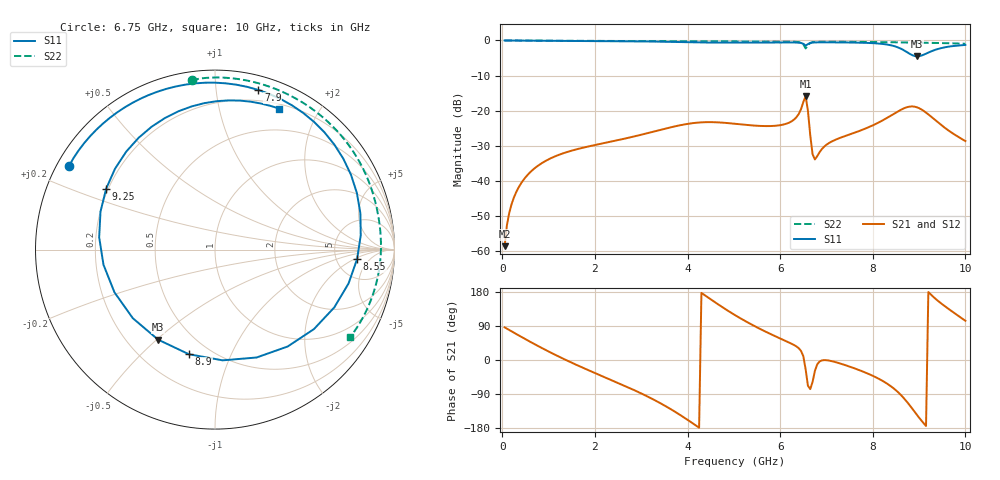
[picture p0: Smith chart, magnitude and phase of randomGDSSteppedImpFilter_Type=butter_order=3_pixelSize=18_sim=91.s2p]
! freq	dB(S11)	phase(S11)	dB(S12)	phase(S12)
!  dB(S21)	phase(S21)	dB(S22)	phase(S22)
!S-par simulation data
#  GHz  S  DB  R 50
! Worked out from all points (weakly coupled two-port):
!   200 points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, 50 MHz to 10 GHz, reference 50 ohm
!   highest |S21| = -15.85 dB at 6.55 GHz (marker M1); lowest = -58.6 dB at 50 MHz (marker M2)
!   lowest |S11| = -4.5 dB at 8.95 GHz (marker M3), VSWR 3.92, Z = 16.3 - j25.2 ohm
!   |S11| at or under -10 dB: nowhere
!   |S22| runs from -2.3 to 0.0 dB; largest |S21 - S12| = 0
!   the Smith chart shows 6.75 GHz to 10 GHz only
!   S11 on the Smith chart (normalised r, x): 6.75 GHz: 0.03, +0.26; 7.9 GHz: 0.11, +1.30; 8.55 GHz: 8.02, -2.28; 8.9 GHz: 0.39, -0.71; 9.25 GHz: 0.19, +0.25; 10 GHz: 0.25, +1.53
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0.05  -0.00 -4.3  -58.59 86.2  -58.59 86.2  -0.00 -2.8
0.2  -0.02 -17.2  -46.65 75.7  -46.65 75.7  -0.01 -11.1
0.5  -0.05 -42.3  -38.99 54.9  -38.99 54.9  -0.04 -27.5
1.1  -0.11 -89.3  -33.23 16.3  -33.23 16.3  -0.07 -58.9
1.75  -0.15 -135.2  -30.52 -21.0  -30.52 -21.0  -0.10 -89.7
2.6  -0.21 167.0  -28.09 -65.9  -28.09 -65.9  -0.13 -124.8
3.4  -0.34 102.0  -25.52 -113.1  -25.52 -113.1  -0.17 -153.9
3.8  -0.44 60.1  -24.26 -141.9  -24.26 -141.9  -0.19 -167.5
4.25  -0.56 5.3  -23.37 -178.7  -23.37 -178.7  -0.21 177.7
5.05  -0.60 -88.5  -23.77 116.6  -23.77 116.6  -0.25 151.7
5.8  -0.55 -151.7  -24.37 68.1  -24.37 68.1  -0.29 126.7
6.55  -1.45 159.9  -15.85 -24.4  -15.85 -24.4  -2.26 98.9
6.7  -0.60 153.7  -32.39 -58.0  -32.39 -58.0  -0.50 100.5
6.75  -0.56 150.3  -33.89 -29.0  -33.89 -29.0  -0.43 97.8
7.9  -0.71 74.8  -24.77 -36.2  -24.77 -36.2  -0.43 52.1
8.35  -1.26 28.8  -21.73 -65.7  -21.73 -65.7  -0.50 34.3
8.55  -2.01 -3.8  -20.16 -85.5  -20.16 -85.5  -0.55 26.3
8.9  -4.43 -104.0  -18.85 -136.0  -18.85 -136.0  -0.64 12.4
8.95  -4.53 -122.3  -19.02 -144.2  -19.02 -144.2  -0.65 10.4
9.25  -3.16 150.7  -21.60 173.2  -21.60 173.2  -0.69 -1.7
9.55  -1.97 104.8  -24.82 142.5  -24.82 142.5  -0.76 -14.1
10  -1.28 65.5  -28.64 103.6  -28.64 103.6  -0.94 -32.8
